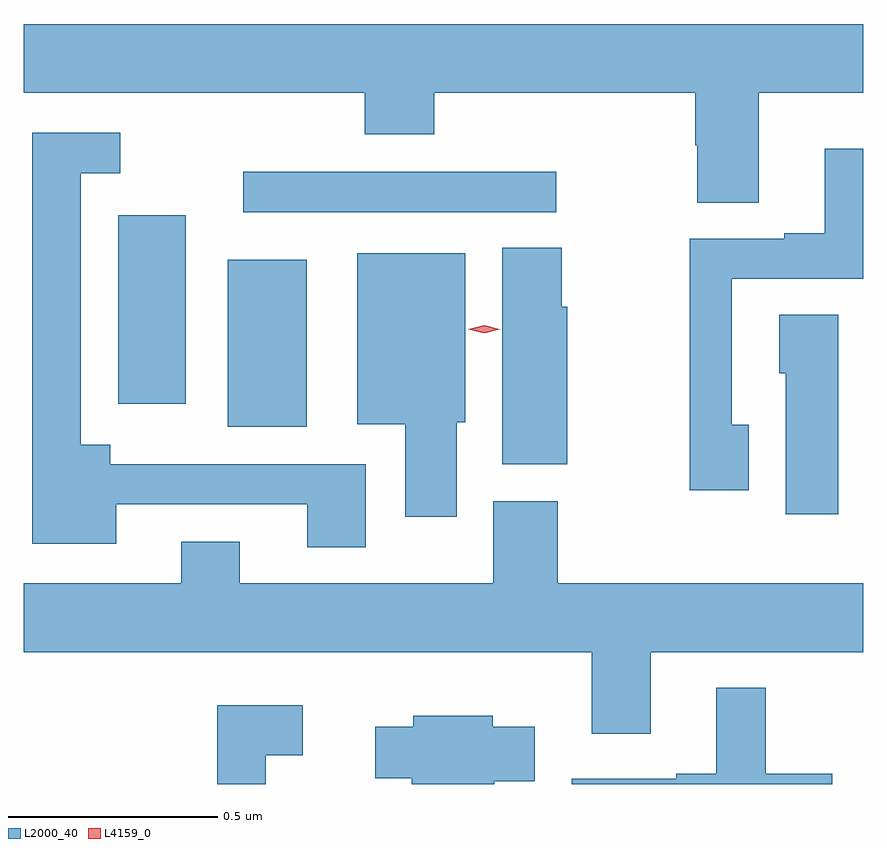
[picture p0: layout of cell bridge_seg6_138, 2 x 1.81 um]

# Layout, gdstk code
import gdstk
lib = gdstk.Library(unit=1e-6, precision=1e-09)
def R(c, l, rs):  # rectangles x0, y0, x1, y1
    for r in rs: c.add(gdstk.rectangle(r[:2], r[2:], *l))
def P(c, l, *ps):  # polygons
    for p in ps: c.add(gdstk.Polygon(p, *l))
L2000_40 = (2000, 40)
L4159_0 = (4159, 0)

bridge_seg6_138 = lib.new_cell('bridge_seg6_138')
R(bridge_seg6_138, L2000_40, [(479.048,925.229,479.236,925.627), (478.787,925.284,478.948,925.732), (479.085,925.74,479.83,925.836)])
P(bridge_seg6_138, L2000_40, [(480.313,926.024),(480.562,926.024),(480.562,926.188),(478.562,926.188),(478.562,926.024),(479.375,926.024),(479.375,925.925),(479.54,925.925),(479.54,926.024),(480.161,926.024),(480.161,925.899),(480.166,925.899),(480.166,925.762),(480.313,925.762)],
  [(479.377,925.14),(478.768,925.14),(478.768,925.186),(478.698,925.186),(478.698,925.833),(478.792,925.833),(478.792,925.929),(478.582,925.929),(478.582,924.95),(478.783,924.95),(478.783,925.044),(479.237,925.044),(479.237,924.942),(479.377,924.942)],
  [(480.289,925.233),(480.249,925.233),(480.249,925.581),(480.562,925.581),(480.562,925.891),(480.47,925.891),(480.47,925.69),(480.374,925.69),(480.374,925.677),(480.148,925.677),(480.148,925.077),(480.289,925.077)],
  [(479.857,925.515),(479.844,925.515),(479.844,925.655),(479.702,925.655),(479.702,925.139),(479.857,925.139)],
  [(479.593,925.239),(479.614,925.239),(479.614,925.642),(479.357,925.642),(479.357,925.235),(479.471,925.235),(479.471,925.014),(479.593,925.014)],
  [(480.502,925.496),(480.362,925.496),(480.362,925.356),(480.377,925.356),(480.377,925.02),(480.502,925.02)],
  [(480.055,924.692),(480.562,924.692),(480.562,924.856),(479.834,924.856),(479.834,925.051),(479.681,925.051),(479.681,924.856),(479.077,924.856),(479.077,924.955),(478.937,924.955),(478.937,924.856),(478.562,924.856),(478.562,924.692),(479.915,924.692),(479.915,924.498),(480.055,924.498)],
  [(480.488,924.403),(480.329,924.403),(480.329,924.607),(480.212,924.607),(480.212,924.403),(480.116,924.403),(480.116,924.39),(479.867,924.39),(479.867,924.378),(480.488,924.378)],
  [(479.139,924.446),(479.227,924.446),(479.227,924.565),(479.023,924.565),(479.023,924.378),(479.139,924.378)],
  [(479.683,924.385),(479.779,924.385),(479.779,924.514),(479.679,924.514),(479.679,924.541),(479.49,924.541),(479.49,924.514),(479.399,924.514),(479.399,924.392),(479.486,924.392),(479.486,924.378),(479.683,924.378)])
P(bridge_seg6_138, L4159_0, [(479.659,925.451),(479.621,925.461),(479.621,925.461),(479.621,925.461),(479.659,925.471),(479.696,925.461),(479.697,925.461),(479.696,925.461)])

lib.write_gds('bridge_seg6_138.gds')
